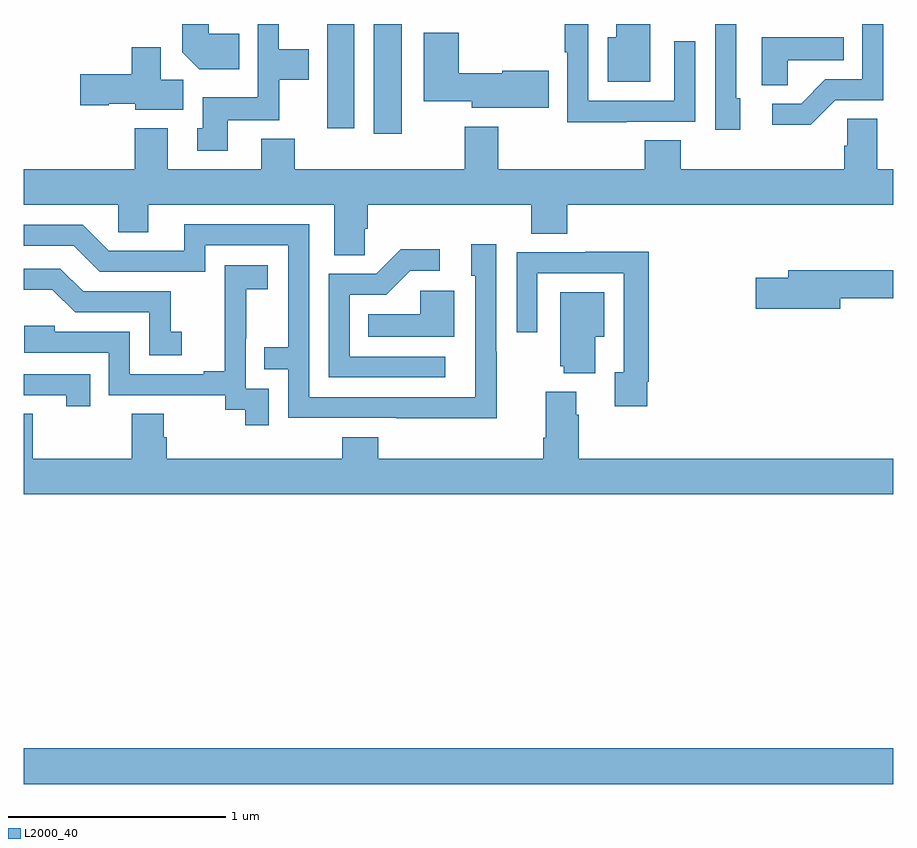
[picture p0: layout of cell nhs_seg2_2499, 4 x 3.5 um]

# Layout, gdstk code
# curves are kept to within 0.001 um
import gdstk
lib = gdstk.Library(unit=1e-6, precision=1e-09)
def R(c, l, rs):  # rectangles x0, y0, x1, y1
    for r in rs: c.add(gdstk.rectangle(r[:2], r[2:], *l))
def P(c, l, *ps):  # polygons
    for p in ps: c.add(gdstk.Polygon(p, *l))
L2000_40 = (2000, 40)

nhs_seg2_2499 = lib.new_cell('nhs_seg2_2499')
R(nhs_seg2_2499, L2000_40, [(241,646.304,245,646.468), (242.609,649.296,242.74,649.8), (242.396,649.32,242.521,649.8)])
P(nhs_seg2_2499, L2000_40, [(244.297,649.458),(244.278,649.458),(244.278,649.8),(244.182,649.8),(244.182,649.314),(244.297,649.314)],
  [(243.883,649.8),(243.725,649.8),(243.725,649.738),(243.686,649.738),(243.686,649.535),(243.883,649.535)],
  [(244.734,649.449),(244.953,649.449),(244.953,649.8),(244.857,649.8),(244.857,649.545),(244.688,649.545),(244.577,649.434),(244.443,649.434),(244.443,649.337),(244.621,649.337)],
  [(241.939,649.358),(242.175,649.358),(242.175,649.544),(242.311,649.544),(242.311,649.684),(242.172,649.684),(242.172,649.8),(242.076,649.8),(242.076,649.462),(241.823,649.462),(241.823,649.32),(241.799,649.32),(241.799,649.218),(241.939,649.218)],
  [(243.773,649.35),(244.089,649.35),(244.089,649.72),(243.993,649.72),(243.993,649.446),(243.597,649.446),(243.597,649.8),(243.489,649.8),(243.489,649.669),(243.501,649.669),(243.501,649.349),(243.773,649.349)],
  [(241.991,649.756),(241.852,649.756),(241.852,649.8),(241.73,649.8),(241.73,649.67),(241.808,649.592),(241.991,649.592)],
  [(243.415,649.586),(243.201,649.586),(243.201,649.573),(243.002,649.573),(243.002,649.759),(242.84,649.759),(242.84,649.445),(243.062,649.445),(243.062,649.415),(243.415,649.415)],
  [(244.515,649.634),(244.772,649.634),(244.772,649.738),(244.394,649.738),(244.394,649.519),(244.515,649.519)],
  [(241.735,649.544),(241.63,649.544),(241.63,649.693),(241.496,649.693),(241.496,649.568),(241.26,649.568),(241.26,649.426),(241.392,649.426),(241.392,649.433),(241.512,649.433),(241.512,649.406),(241.735,649.406)],
  [(241.511,649.321),(241.511,649.132),(241,649.132),(241,648.968),(241.434,648.968),(241.434,648.841),(241.573,648.841),(241.573,648.968),(242.429,648.968),(242.429,648.736),(242.568,648.736),(242.568,648.859),(242.582,648.859),(242.582,648.968),(243.335,648.968),(243.335,648.835),(243.5,648.835),(243.5,648.968),(245,648.968),(245,649.132),(244.927,649.132),(244.927,649.364),(244.788,649.364),(244.788,649.241),(244.775,649.241),(244.775,649.132),(244.022,649.132),(244.022,649.265),(243.857,649.265),(243.857,649.132),(243.182,649.132),(243.182,649.327),(243.029,649.327),(243.029,649.132),(242.246,649.132),(242.246,649.273),(242.093,649.273),(242.093,649.132),(241.663,649.132),(241.663,649.321)],
  [(243.177,648.293),(243.174,648.293),(243.174,648.787),(243.059,648.787),(243.059,648.642),(243.078,648.642),(243.077,648.084),(242.313,648.084),(242.313,648.879),(241.739,648.879),(241.739,648.756),(241.392,648.756),(241.272,648.876),(241,648.876),(241,648.78),(241.23,648.78),(241.35,648.66),(241.836,648.66),(241.836,648.783),(242.217,648.783),(242.217,648.314),(242.107,648.314),(242.107,648.213),(242.217,648.213),(242.217,647.988),(243.177,647.987)],
  [(242.938,648.27),(242.499,648.27),(242.499,648.555),(242.668,648.555),(242.779,648.666),(242.914,648.666),(242.914,648.764),(242.735,648.764),(242.622,648.651),(242.403,648.651),(242.403,648.174),(242.938,648.174)],
  [(243.868,648.154),(243.875,648.154),(243.875,648.752),(243.583,648.752),(243.583,648.75),(243.267,648.75),(243.267,648.381),(243.363,648.381),(243.363,648.654),(243.759,648.654),(243.759,648.198),(243.719,648.198),(243.719,648.042),(243.868,648.042)],
  [(242.127,648.123),(242.022,648.123),(242.022,648.353),(242.024,648.353),(242.024,648.581),(242.122,648.581),(242.122,648.691),(241.924,648.691),(241.924,648.485),(241.925,648.485),(241.925,648.202),(241.829,648.202),(241.829,648.189),(241.488,648.189),(241.488,648.384),(241.143,648.384),(241.143,648.411),(241.003,648.411),(241.003,648.288),(241.392,648.288),(241.392,648.093),(241.926,648.093),(241.926,648.025),(242.019,648.025),(242.019,647.955),(242.127,647.955)],
  [(241.726,648.385),(241.677,648.385),(241.677,648.57),(241.273,648.57),(241.168,648.675),(241,648.675),(241,648.578),(241.132,648.578),(241.236,648.474),(241.578,648.474),(241.578,648.276),(241.726,648.276)],
  [(244.756,648.538),(245,648.538),(245,648.667),(244.517,648.667),(244.517,648.633),(244.368,648.633),(244.368,648.491),(244.756,648.491)],
  [(242.98,648.574),(242.823,648.574),(242.823,648.466),(242.584,648.466),(242.584,648.362),(242.98,648.362)],
  [(243.628,648.362),(243.67,648.362),(243.67,648.565),(243.467,648.565),(243.467,648.225),(243.485,648.225),(243.485,648.194),(243.628,648.194)],
  [(241.307,648.189),(241,648.189),(241,648.093),(241.196,648.093),(241.196,648.042),(241.307,648.042)],
  [(245,647.8),(243.554,647.8),(243.554,648.002),(243.541,648.002),(243.541,648.109),(243.401,648.109),(243.401,647.896),(243.389,647.896),(243.389,647.8),(242.63,647.8),(242.63,647.899),(242.465,647.899),(242.465,647.8),(241.658,647.8),(241.658,647.898),(241.645,647.898),(241.645,648.008),(241.498,648.008),(241.498,647.8),(241.041,647.8),(241.041,648.008),(241,648.008),(241,647.636),(245,647.636)])

lib.write_gds('nhs_seg2_2499.gds')
